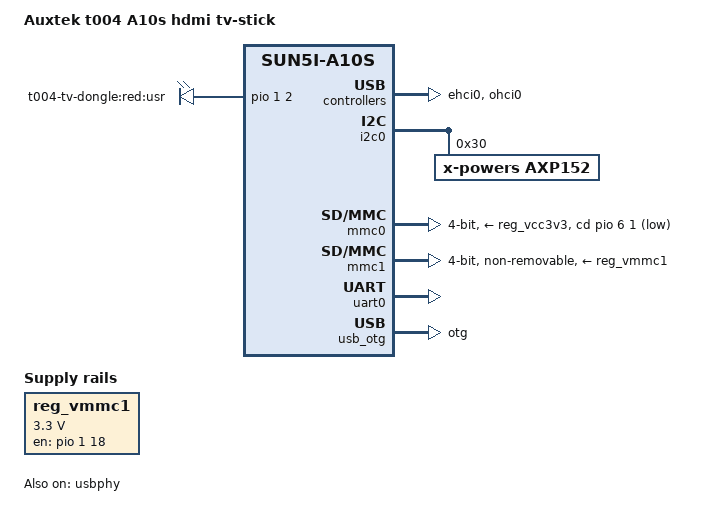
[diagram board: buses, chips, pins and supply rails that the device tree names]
/*
 * Copyright 2015 Hans de Goede <hdegoede@redhat.com>
 *
 * This file is dual-licensed: you can use it either under the terms
 * of the GPL or the X11 license, at your option. Note that this dual
 * licensing only applies to this file, and not this project as a
 * whole.
 *
 *  a) This file is free software; you can redistribute it and/or
 *     modify it under the terms of the GNU General Public License as
 *     published by the Free Software Foundation; either version 2 of the
 *     License, or (at your option) any later version.
 *
 *     This file is distributed in the hope that it will be useful,
 *     but WITHOUT ANY WARRANTY; without even the implied warranty of
 *     MERCHANTABILITY or FITNESS FOR A PARTICULAR PURPOSE.  See the
 *     GNU General Public License for more details.
 *
 * Or, alternatively,
 *
 *  b) Permission is hereby granted, free of charge, to any person
 *     obtaining a copy of this software and associated documentation
 *     files (the "Software"), to deal in the Software without
 *     restriction, including without limitation the rights to use,
 *     copy, modify, merge, publish, distribute, sublicense, and/or
 *     sell copies of the Software, and to permit persons to whom the
 *     Software is furnished to do so, subject to the following
 *     conditions:
 *
 *     The above copyright notice and this permission notice shall be
 *     included in all copies or substantial portions of the Software.
 *
 *     THE SOFTWARE IS PROVIDED "AS IS", WITHOUT WARRANTY OF ANY KIND,
 *     EXPRESS OR IMPLIED, INCLUDING BUT NOT LIMITED TO THE WARRANTIES
 *     OF MERCHANTABILITY, FITNESS FOR A PARTICULAR PURPOSE AND
 *     NONINFRINGEMENT. IN NO EVENT SHALL THE AUTHORS OR COPYRIGHT
 *     HOLDERS BE LIABLE FOR ANY CLAIM, DAMAGES OR OTHER LIABILITY,
 *     WHETHER IN AN ACTION OF CONTRACT, TORT OR OTHERWISE, ARISING
 *     FROM, OUT OF OR IN CONNECTION WITH THE SOFTWARE OR THE USE OR
 *     OTHER DEALINGS IN THE SOFTWARE.
 */

/dts-v1/;
#include "sun5i-a10s.dtsi"
#include "sunxi-common-regulators.dtsi"
#include <dt-bindings/gpio/gpio.h>

/ {
	model = "Auxtek t004 A10s hdmi tv-stick";
	compatible = "allwinner,auxtek-t004", "allwinner,sun5i-a10s";

	aliases {
		serial0 = &uart0;
	};

	chosen {
		stdout-path = "serial0:115200n8";
	};

	leds {
		compatible = "gpio-leds";
		pinctrl-names = "default";
		pinctrl-0 = <&led_pins_t004>;

		red {
			label = "t004-tv-dongle:red:usr";
			gpios = <&pio 1 2 GPIO_ACTIVE_HIGH>; /* PB2 */
			default-state = "on";
		};
	};

	reg_vmmc1: vmmc1 {
		compatible = "regulator-fixed";
		regulator-name = "vmmc1";
		regulator-min-microvolt = <3300000>;
		regulator-max-microvolt = <3300000>;
		enable-active-high;
		gpio = <&pio 1 18 GPIO_ACTIVE_HIGH>; /* PB18 */
	};
};

&ehci0 {
	status = "okay";
};

&i2c0 {
	status = "okay";

	axp152: pmic@30 {
		compatible = "x-powers,axp152";
		reg = <0x30>;
		interrupts = <0>;
		interrupt-controller;
		#interrupt-cells = <1>;
	};
};

&mmc0 {
	vmmc-supply = <&reg_vcc3v3>;
	bus-width = <4>;
	cd-gpios = <&pio 6 1 GPIO_ACTIVE_LOW>; /* PG1 */
	status = "okay";
};

&mmc1 {
	vmmc-supply = <&reg_vmmc1>;
	bus-width = <4>;
	non-removable;
	cap-sdio-irq;
	status = "okay";
};

&ohci0 {
	status = "okay";
};

&otg_sram {
	status = "okay";
};

&pio {
	led_pins_t004: led-pin {
		pins = "PB2";
		function = "gpio_out";
		drive-strength = <20>;
	};
};

&reg_usb1_vbus {
	gpio = <&pio 6 13 GPIO_ACTIVE_HIGH>; /* PG13 */
	status = "okay";
};

&uart0 {
	pinctrl-names = "default";
	pinctrl-0 = <&uart0_pb_pins>;
	status = "okay";
};

&usb_otg {
	dr_mode = "otg";
	status = "okay";
};

&usbphy {
	usb0_id_det-gpios = <&pio 6 12 (GPIO_ACTIVE_HIGH | GPIO_PULL_UP)>; /* PG12 */
	usb1_vbus-supply = <&reg_usb1_vbus>;
	status = "okay";
};
